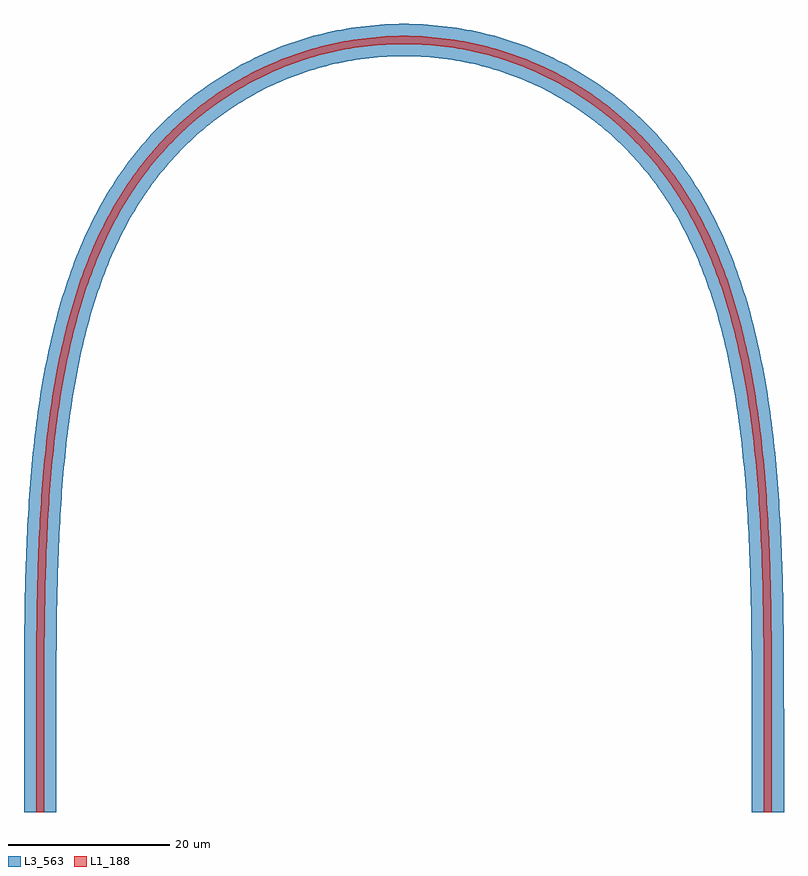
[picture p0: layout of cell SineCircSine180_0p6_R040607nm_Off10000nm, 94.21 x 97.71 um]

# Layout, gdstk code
import gdstk
lib = gdstk.Library(unit=1e-6, precision=1e-09)
L1_188 = (1, 188)
L3_563 = (3, 563)

sinecircsine180_0p6_r040 = lib.new_cell('SineCircSine180_0p6_R040607nm_Off10000nm')
sinecircsine180_0p6_r040.add(gdstk.FlexPath([(-45.103,-55.103),(-45.103,-45.103),(-45.103,-44.298),(-45.103,-43.492),(-45.103,-42.687),(-45.102,-41.882),(-45.101,-41.078),(-45.1,-40.273),(-45.099,-39.47),(-45.096,-38.667),(-45.093,-37.864),(-45.09,-37.062),(-45.085,-36.261),(-45.08,-35.461),(-45.074,-34.662),(-45.067,-33.863),(-45.059,-33.066),(-45.049,-32.27),(-45.038,-31.476),(-45.026,-30.682),(-45.013,-29.89),(-44.998,-29.1),(-44.981,-28.311),(-44.963,-27.524),(-44.943,-26.738),(-44.922,-25.955),(-44.898,-25.173),(-44.873,-24.393),(-44.845,-23.615),(-44.815,-22.839),(-44.784,-22.065),(-44.75,-21.294),(-44.713,-20.525),(-44.675,-19.758),(-44.634,-18.994),(-44.59,-18.232),(-44.544,-17.473),(-44.495,-16.716),(-44.443,-15.963),(-44.389,-15.212),(-44.332,-14.463),(-44.271,-13.718),(-44.208,-12.976),(-44.142,-12.237),(-44.072,-11.501),(-44,-10.768),(-43.924,-10.039),(-43.844,-9.313),(-43.762,-8.59),(-43.676,-7.871),(-43.586,-7.155),(-43.493,-6.443),(-43.396,-5.734),(-43.295,-5.029),(-43.191,-4.328),(-43.083,-3.631),(-42.971,-2.937),(-42.855,-2.248),(-42.735,-1.563),(-42.611,-0.881),(-42.483,-0.204),(-42.351,0.469),(-42.214,1.138),(-42.073,1.803),(-41.928,2.463),(-41.779,3.119),(-41.625,3.771),(-41.467,4.418),(-41.304,5.061),(-41.137,5.699),(-40.965,6.332),(-40.788,6.961),(-40.607,7.585),(-40.421,8.204),(-40.23,8.819),(-40.034,9.428),(-39.834,10.033),(-39.628,10.633),(-39.418,11.228),(-39.202,11.818),(-38.982,12.403),(-38.757,12.983),(-38.526,13.558),(-38.29,14.128),(-38.05,14.693),(-37.804,15.252),(-37.552,15.806),(-37.296,16.355),(-37.034,16.899),(-36.767,17.437),(-36.495,17.97),(-36.217,18.498),(-35.934,19.02),(-35.645,19.537),(-35.351,20.049),(-35.052,20.555),(-34.747,21.055),(-34.437,21.55),(-34.121,22.04),(-33.8,22.524),(-33.473,23.002),(-33.14,23.475),(-32.802,23.943),(-32.459,24.404),(-32.109,24.861),(-31.755,25.311),(-31.394,25.756),(-31.028,26.196),(-30.656,26.629),(-30.279,27.057),(-29.896,27.48),(-29.508,27.897),(-29.113,28.308),(-28.713,28.713),(-28.308,29.113),(-27.897,29.507),(-27.48,29.896),(-27.058,30.278),(-26.631,30.655),(-26.198,31.025),(-25.761,31.39),(-25.318,31.748),(-24.87,32.1),(-24.418,32.445),(-23.96,32.785),(-23.498,33.117),(-23.031,33.444),(-22.56,33.763),(-22.084,34.077),(-21.604,34.383),(-21.12,34.683),(-20.631,34.975),(-20.139,35.261),(-19.642,35.54),(-19.142,35.812),(-18.638,36.077),(-18.13,36.335),(-17.619,36.586),(-17.104,36.829),(-16.586,37.065),(-16.064,37.294),(-15.54,37.516),(-15.012,37.73),(-14.481,37.937),(-13.948,38.136),(-13.412,38.328),(-12.873,38.513),(-12.331,38.689),(-11.788,38.858),(-11.241,39.02),(-10.693,39.174),(-10.143,39.32),(-9.59,39.458),(-9.036,39.589),(-8.48,39.712),(-7.922,39.827),(-7.363,39.934),(-6.802,40.033),(-6.24,40.125),(-5.676,40.208),(-5.112,40.284),(-4.547,40.352),(-3.98,40.411),(-3.413,40.463),(-2.845,40.507),(-2.277,40.543),(-1.708,40.571),(-1.139,40.591),(-0.569,40.603),(0,40.607),(0.569,40.603),(1.139,40.591),(1.708,40.571),(2.277,40.543),(2.845,40.507),(3.413,40.463),(3.98,40.411),(4.547,40.352),(5.112,40.284),(5.676,40.208),(6.24,40.125),(6.802,40.033),(7.363,39.934),(7.922,39.827),(8.48,39.712),(9.036,39.589),(9.59,39.458),(10.143,39.32),(10.693,39.174),(11.241,39.02),(11.788,38.858),(12.331,38.689),(12.873,38.513),(13.412,38.328),(13.948,38.136),(14.481,37.937),(15.012,37.73),(15.54,37.516),(16.064,37.294),(16.586,37.065),(17.104,36.829),(17.619,36.586),(18.13,36.335),(18.638,36.077),(19.142,35.812),(19.642,35.54),(20.139,35.261),(20.631,34.975),(21.12,34.683),(21.604,34.383),(22.084,34.077),(22.56,33.763),(23.031,33.444),(23.498,33.117),(23.96,32.785),(24.418,32.445),(24.87,32.1),(25.318,31.748),(25.761,31.39),(26.198,31.025),(26.631,30.655),(27.058,30.278),(27.48,29.896),(27.897,29.507),(28.308,29.113),(28.713,28.713),(29.113,28.308),(29.508,27.897),(29.896,27.48),(30.279,27.057),(30.656,26.629),(31.028,26.196),(31.394,25.756),(31.755,25.311),(32.109,24.861),(32.459,24.404),(32.802,23.943),(33.14,23.475),(33.473,23.002),(33.8,22.524),(34.121,22.04),(34.437,21.55),(34.747,21.055),(35.052,20.555),(35.351,20.049),(35.645,19.537),(35.934,19.02),(36.217,18.498),(36.495,17.97),(36.767,17.437),(37.034,16.899),(37.296,16.355),(37.552,15.806),(37.804,15.252),(38.05,14.693),(38.29,14.128),(38.526,13.558),(38.757,12.983),(38.982,12.403),(39.202,11.818),(39.418,11.228),(39.628,10.633),(39.834,10.033),(40.034,9.428),(40.23,8.819),(40.421,8.204),(40.607,7.585),(40.788,6.961),(40.965,6.332),(41.137,5.699),(41.304,5.061),(41.467,4.418),(41.625,3.771),(41.779,3.119),(41.928,2.463),(42.073,1.803),(42.214,1.138),(42.351,0.469),(42.483,-0.204),(42.611,-0.881),(42.735,-1.563),(42.855,-2.248),(42.971,-2.937),(43.083,-3.631),(43.191,-4.328),(43.295,-5.029),(43.396,-5.734),(43.493,-6.443),(43.586,-7.155),(43.676,-7.871),(43.762,-8.59),(43.844,-9.313),(43.924,-10.039),(44,-10.768),(44.072,-11.501),(44.142,-12.237),(44.208,-12.976),(44.271,-13.718),(44.332,-14.463),(44.389,-15.212),(44.443,-15.963),(44.495,-16.716),(44.544,-17.473),(44.59,-18.232),(44.634,-18.994),(44.675,-19.758),(44.713,-20.525),(44.75,-21.294),(44.784,-22.065),(44.815,-22.839),(44.845,-23.615),(44.873,-24.393),(44.898,-25.173),(44.922,-25.955),(44.943,-26.738),(44.963,-27.524),(44.981,-28.311),(44.998,-29.1),(45.013,-29.89),(45.026,-30.682),(45.038,-31.476),(45.049,-32.27),(45.059,-33.066),(45.067,-33.863),(45.074,-34.662),(45.08,-35.461),(45.085,-36.261),(45.09,-37.062),(45.093,-37.864),(45.096,-38.667),(45.099,-39.47),(45.1,-40.273),(45.101,-41.078),(45.102,-41.882),(45.103,-42.687),(45.103,-43.492),(45.103,-44.298),(45.103,-45.103),(45.103,-55.103)], 1, ends="flush", simple_path=True, layer=1, datatype=188))  # L1_188
sinecircsine180_0p6_r040.add(gdstk.FlexPath([(-45.103,-55.103),(-45.103,-45.103),(-45.103,-44.298),(-45.103,-43.492),(-45.103,-42.687),(-45.102,-41.882),(-45.101,-41.078),(-45.1,-40.273),(-45.099,-39.47),(-45.096,-38.667),(-45.093,-37.864),(-45.09,-37.062),(-45.085,-36.261),(-45.08,-35.461),(-45.074,-34.662),(-45.067,-33.863),(-45.059,-33.066),(-45.049,-32.27),(-45.038,-31.476),(-45.026,-30.682),(-45.013,-29.89),(-44.998,-29.1),(-44.981,-28.311),(-44.963,-27.524),(-44.943,-26.738),(-44.922,-25.955),(-44.898,-25.173),(-44.873,-24.393),(-44.845,-23.615),(-44.815,-22.839),(-44.784,-22.065),(-44.75,-21.294),(-44.713,-20.525),(-44.675,-19.758),(-44.634,-18.994),(-44.59,-18.232),(-44.544,-17.473),(-44.495,-16.716),(-44.443,-15.963),(-44.389,-15.212),(-44.332,-14.463),(-44.271,-13.718),(-44.208,-12.976),(-44.142,-12.237),(-44.072,-11.501),(-44,-10.768),(-43.924,-10.039),(-43.844,-9.313),(-43.762,-8.59),(-43.676,-7.871),(-43.586,-7.155),(-43.493,-6.443),(-43.396,-5.734),(-43.295,-5.029),(-43.191,-4.328),(-43.083,-3.631),(-42.971,-2.937),(-42.855,-2.248),(-42.735,-1.563),(-42.611,-0.881),(-42.483,-0.204),(-42.351,0.469),(-42.214,1.138),(-42.073,1.803),(-41.928,2.463),(-41.779,3.119),(-41.625,3.771),(-41.467,4.418),(-41.304,5.061),(-41.137,5.699),(-40.965,6.332),(-40.788,6.961),(-40.607,7.585),(-40.421,8.204),(-40.23,8.819),(-40.034,9.428),(-39.834,10.033),(-39.628,10.633),(-39.418,11.228),(-39.202,11.818),(-38.982,12.403),(-38.757,12.983),(-38.526,13.558),(-38.29,14.128),(-38.05,14.693),(-37.804,15.252),(-37.552,15.806),(-37.296,16.355),(-37.034,16.899),(-36.767,17.437),(-36.495,17.97),(-36.217,18.498),(-35.934,19.02),(-35.645,19.537),(-35.351,20.049),(-35.052,20.555),(-34.747,21.055),(-34.437,21.55),(-34.121,22.04),(-33.8,22.524),(-33.473,23.002),(-33.14,23.475),(-32.802,23.943),(-32.459,24.404),(-32.109,24.861),(-31.755,25.311),(-31.394,25.756),(-31.028,26.196),(-30.656,26.629),(-30.279,27.057),(-29.896,27.48),(-29.508,27.897),(-29.113,28.308),(-28.713,28.713),(-28.308,29.113),(-27.897,29.507),(-27.48,29.896),(-27.058,30.278),(-26.631,30.655),(-26.198,31.025),(-25.761,31.39),(-25.318,31.748),(-24.87,32.1),(-24.418,32.445),(-23.96,32.785),(-23.498,33.117),(-23.031,33.444),(-22.56,33.763),(-22.084,34.077),(-21.604,34.383),(-21.12,34.683),(-20.631,34.975),(-20.139,35.261),(-19.642,35.54),(-19.142,35.812),(-18.638,36.077),(-18.13,36.335),(-17.619,36.586),(-17.104,36.829),(-16.586,37.065),(-16.064,37.294),(-15.54,37.516),(-15.012,37.73),(-14.481,37.937),(-13.948,38.136),(-13.412,38.328),(-12.873,38.513),(-12.331,38.689),(-11.788,38.858),(-11.241,39.02),(-10.693,39.174),(-10.143,39.32),(-9.59,39.458),(-9.036,39.589),(-8.48,39.712),(-7.922,39.827),(-7.363,39.934),(-6.802,40.033),(-6.24,40.125),(-5.676,40.208),(-5.112,40.284),(-4.547,40.352),(-3.98,40.411),(-3.413,40.463),(-2.845,40.507),(-2.277,40.543),(-1.708,40.571),(-1.139,40.591),(-0.569,40.603),(0,40.607),(0.569,40.603),(1.139,40.591),(1.708,40.571),(2.277,40.543),(2.845,40.507),(3.413,40.463),(3.98,40.411),(4.547,40.352),(5.112,40.284),(5.676,40.208),(6.24,40.125),(6.802,40.033),(7.363,39.934),(7.922,39.827),(8.48,39.712),(9.036,39.589),(9.59,39.458),(10.143,39.32),(10.693,39.174),(11.241,39.02),(11.788,38.858),(12.331,38.689),(12.873,38.513),(13.412,38.328),(13.948,38.136),(14.481,37.937),(15.012,37.73),(15.54,37.516),(16.064,37.294),(16.586,37.065),(17.104,36.829),(17.619,36.586),(18.13,36.335),(18.638,36.077),(19.142,35.812),(19.642,35.54),(20.139,35.261),(20.631,34.975),(21.12,34.683),(21.604,34.383),(22.084,34.077),(22.56,33.763),(23.031,33.444),(23.498,33.117),(23.96,32.785),(24.418,32.445),(24.87,32.1),(25.318,31.748),(25.761,31.39),(26.198,31.025),(26.631,30.655),(27.058,30.278),(27.48,29.896),(27.897,29.507),(28.308,29.113),(28.713,28.713),(29.113,28.308),(29.508,27.897),(29.896,27.48),(30.279,27.057),(30.656,26.629),(31.028,26.196),(31.394,25.756),(31.755,25.311),(32.109,24.861),(32.459,24.404),(32.802,23.943),(33.14,23.475),(33.473,23.002),(33.8,22.524),(34.121,22.04),(34.437,21.55),(34.747,21.055),(35.052,20.555),(35.351,20.049),(35.645,19.537),(35.934,19.02),(36.217,18.498),(36.495,17.97),(36.767,17.437),(37.034,16.899),(37.296,16.355),(37.552,15.806),(37.804,15.252),(38.05,14.693),(38.29,14.128),(38.526,13.558),(38.757,12.983),(38.982,12.403),(39.202,11.818),(39.418,11.228),(39.628,10.633),(39.834,10.033),(40.034,9.428),(40.23,8.819),(40.421,8.204),(40.607,7.585),(40.788,6.961),(40.965,6.332),(41.137,5.699),(41.304,5.061),(41.467,4.418),(41.625,3.771),(41.779,3.119),(41.928,2.463),(42.073,1.803),(42.214,1.138),(42.351,0.469),(42.483,-0.204),(42.611,-0.881),(42.735,-1.563),(42.855,-2.248),(42.971,-2.937),(43.083,-3.631),(43.191,-4.328),(43.295,-5.029),(43.396,-5.734),(43.493,-6.443),(43.586,-7.155),(43.676,-7.871),(43.762,-8.59),(43.844,-9.313),(43.924,-10.039),(44,-10.768),(44.072,-11.501),(44.142,-12.237),(44.208,-12.976),(44.271,-13.718),(44.332,-14.463),(44.389,-15.212),(44.443,-15.963),(44.495,-16.716),(44.544,-17.473),(44.59,-18.232),(44.634,-18.994),(44.675,-19.758),(44.713,-20.525),(44.75,-21.294),(44.784,-22.065),(44.815,-22.839),(44.845,-23.615),(44.873,-24.393),(44.898,-25.173),(44.922,-25.955),(44.943,-26.738),(44.963,-27.524),(44.981,-28.311),(44.998,-29.1),(45.013,-29.89),(45.026,-30.682),(45.038,-31.476),(45.049,-32.27),(45.059,-33.066),(45.067,-33.863),(45.074,-34.662),(45.08,-35.461),(45.085,-36.261),(45.09,-37.062),(45.093,-37.864),(45.096,-38.667),(45.099,-39.47),(45.1,-40.273),(45.101,-41.078),(45.102,-41.882),(45.103,-42.687),(45.103,-43.492),(45.103,-44.298),(45.103,-45.103),(45.103,-55.103)], 4, ends="flush", simple_path=True, layer=3, datatype=563))  # L3_563

lib.write_gds('SineCircSine180_0p6_R040607nm_Off10000nm.gds')
